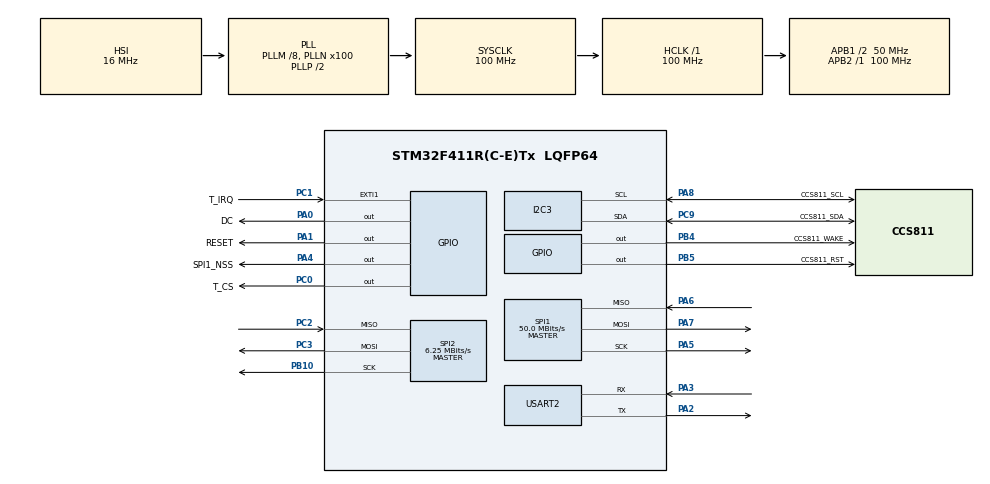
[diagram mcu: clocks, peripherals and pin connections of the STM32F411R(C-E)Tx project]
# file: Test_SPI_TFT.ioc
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Dma.Request0=USART2_TX
Dma.Request1=USART2_RX
Dma.Request2=SPI1_TX
Dma.SPI1_TX.2.Direction=DMA_MEMORY_TO_PERIPH
Dma.SPI1_TX.2.FIFOMode=DMA_FIFOMODE_ENABLE
Dma.SPI1_TX.2.FIFOThreshold=DMA_FIFO_THRESHOLD_FULL
Dma.SPI1_TX.2.Instance=DMA2_Stream2
Dma.SPI1_TX.2.MemBurst=DMA_MBURST_SINGLE
Dma.SPI1_TX.2.MemDataAlignment=DMA_MDATAALIGN_BYTE
Dma.SPI1_TX.2.MemInc=DMA_MINC_ENABLE
Dma.SPI1_TX.2.Mode=DMA_NORMAL
Dma.SPI1_TX.2.PeriphBurst=DMA_PBURST_SINGLE
Dma.SPI1_TX.2.PeriphDataAlignment=DMA_PDATAALIGN_BYTE
Dma.SPI1_TX.2.PeriphInc=DMA_PINC_DISABLE
Dma.SPI1_TX.2.Priority=DMA_PRIORITY_LOW
Dma.USART2_RX.1.Direction=DMA_PERIPH_TO_MEMORY
Dma.USART2_RX.1.FIFOMode=DMA_FIFOMODE_DISABLE
Dma.USART2_RX.1.Instance=DMA1_Stream5
Dma.USART2_RX.1.MemDataAlignment=DMA_MDATAALIGN_BYTE
Dma.USART2_RX.1.MemInc=DMA_MINC_ENABLE
Dma.USART2_RX.1.Mode=DMA_NORMAL
Dma.USART2_RX.1.PeriphDataAlignment=DMA_PDATAALIGN_BYTE
Dma.USART2_RX.1.PeriphInc=DMA_PINC_DISABLE
Dma.USART2_RX.1.Priority=DMA_PRIORITY_LOW
Dma.USART2_TX.0.Direction=DMA_MEMORY_TO_PERIPH
Dma.USART2_TX.0.FIFOMode=DMA_FIFOMODE_DISABLE
Dma.USART2_TX.0.Instance=DMA1_Stream6
Dma.USART2_TX.0.MemDataAlignment=DMA_MDATAALIGN_BYTE
Dma.USART2_TX.0.MemInc=DMA_MINC_ENABLE
Dma.USART2_TX.0.Mode=DMA_NORMAL
Dma.USART2_TX.0.PeriphDataAlignment=DMA_PDATAALIGN_BYTE
Dma.USART2_TX.0.PeriphInc=DMA_PINC_DISABLE
Dma.USART2_TX.0.Priority=DMA_PRIORITY_LOW
Mcu.Family=STM32F4
Mcu.Name=STM32F411R(C-E)Tx
Mcu.Package=LQFP64
NVIC.DMA1_Stream5_IRQn=true\:0\:0\:false\:false\:true\:false\:true
NVIC.DMA1_Stream6_IRQn=true\:0\:0\:false\:false\:true\:false\:true
NVIC.DMA2_Stream2_IRQn=true\:0\:0\:false\:false\:true\:false\:true
NVIC.EXTI1_IRQn=true\:0\:0\:false\:false\:true\:true\:true
NVIC.PriorityGroup=NVIC_PRIORITYGROUP_0
NVIC.RCC_IRQn=true\:0\:0\:false\:false\:true\:true\:false
NVIC.SPI1_IRQn=true\:0\:0\:false\:false\:true\:true\:true
NVIC.SPI2_IRQn=true\:0\:0\:false\:false\:true\:true\:true
NVIC.TIM1_UP_TIM10_IRQn=true\:0\:0\:false\:false\:true\:false\:true
NVIC.TIM2_IRQn=true\:0\:0\:false\:false\:true\:true\:true
NVIC.TimeBase=TIM1_UP_TIM10_IRQn
NVIC.TimeBaseIP=TIM1
NVIC.USART2_IRQn=true\:0\:0\:false\:false\:true\:true\:true
PA0-WKUP.GPIO_Label=DC
PA0-WKUP.Signal=GPIO_Output
PA1.GPIO_Label=RESET
PA1.Signal=GPIO_Output
PA13.Mode=Serial_Wire
PA13.Signal=SYS_JTMS-SWDIO
PA14.Mode=Serial_Wire
PA14.Signal=SYS_JTCK-SWCLK
PA2.Mode=Asynchronous
PA2.Signal=USART2_TX
PA3.Mode=Asynchronous
PA3.Signal=USART2_RX
PA4.GPIO_Label=SPI1_NSS
PA4.Signal=GPIO_Output
PA5.Mode=Full_Duplex_Master
PA5.Signal=SPI1_SCK
PA6.Mode=Full_Duplex_Master
PA6.Signal=SPI1_MISO
PA7.Mode=Full_Duplex_Master
PA7.Signal=SPI1_MOSI
PA8.GPIO_Label=CCS811_SCL
PA8.Mode=I2C
PA8.Signal=I2C3_SCL
PB10.Mode=Full_Duplex_Master
PB10.Signal=SPI2_SCK
PB4.GPIO_Label=CCS811_WAKE
PB4.Signal=GPIO_Output
PB5.GPIO_Label=CCS811_RST
PB5.Signal=GPIO_Output
PC0.GPIO_Label=T_CS
PC0.Signal=GPIO_Output
PC1.GPIO_Label=T_IRQ
PC1.GPIO_ModeDefaultEXTI=GPIO_MODE_IT_FALLING
PC1.GPIO_PuPd=GPIO_PULLUP
PC1.Signal=GPXTI1
PC14-OSC32_IN.Mode=LSE-External-Oscillator
PC14-OSC32_IN.Signal=RCC_OSC32_IN
PC15-OSC32_OUT.Mode=LSE-External-Oscillator
PC15-OSC32_OUT.Signal=RCC_OSC32_OUT
PC2.Mode=Full_Duplex_Master
PC2.Signal=SPI2_MISO
PC3.Mode=Full_Duplex_Master
PC3.Signal=SPI2_MOSI
PC9.GPIO_Label=CCS811_SDA
PC9.Mode=I2C
PC9.Signal=I2C3_SDA
ProjectManager.HeapSize=0x200
ProjectManager.StackSize=0x400
ProjectManager.TargetToolchain=STM32CubeIDE
RCC.48MHZClocksFreq_Value=50000000
RCC.AHBFreq_Value=100000000
RCC.APB1CLKDivider=RCC_HCLK_DIV2
RCC.APB1Freq_Value=50000000
RCC.APB1TimFreq_Value=100000000
RCC.APB2Freq_Value=100000000
RCC.APB2TimFreq_Value=100000000
RCC.CortexFreq_Value=100000000
RCC.FLatency-AdvancedSettings=FLASH_LATENCY_3
RCC.HCLKFreq_Value=100000000
RCC.HSE_VALUE=8000000
RCC.HSI_VALUE=16000000
RCC.PLLM=8
RCC.PLLN=100
RCC.RCC_RTC_Clock_Source=RCC_RTCCLKSOURCE_LSE
RCC.RCC_RTC_Clock_SourceVirtual=RCC_RTCCLKSOURCE_LSE
RCC.SYSCLKFreq_VALUE=100000000
RCC.SYSCLKSource=RCC_SYSCLKSOURCE_PLLCLK
RCC.VCOOutputFreq_Value=200000000
SPI1.CalculateBaudRate=50.0 MBits/s
SPI1.Direction=SPI_DIRECTION_2LINES
SPI1.Mode=SPI_MODE_MASTER
SPI1.VirtualType=VM_MASTER
SPI2.BaudRatePrescaler=SPI_BAUDRATEPRESCALER_8
SPI2.CalculateBaudRate=6.25 MBits/s
SPI2.Direction=SPI_DIRECTION_2LINES
SPI2.Mode=SPI_MODE_MASTER
SPI2.VirtualType=VM_MASTER
STMicroelectronics.X-CUBE-TOUCHGFX.4.18.1.ApplicationCcGraphicsJjApplication=TouchGFXOoGenerator
STMicroelectronics.X-CUBE-TOUCHGFX.4.18.1.tgfx_buffering_strategy=Partial
STMicroelectronics.X-CUBE-TOUCHGFX.4.18.1.tgfx_custom_height=240
STMicroelectronics.X-CUBE-TOUCHGFX.4.18.1.tgfx_custom_width=320
STMicroelectronics.X-CUBE-TOUCHGFX.4.18.1_IsPackSelfContextualization=true
TIM2.Period=50000-1
TIM2.Prescaler=100-1
USART2.VirtualMode=VM_ASYNC
VP_CRC_VS_CRC.Mode=CRC_Activate
VP_RTC_VS_RTC_Activate.Mode=RTC_Enabled
VP_STMicroelectronics.X-CUBE-TOUCHGFX_VS_GraphicsJjApplication_4.18.1.Mode=GraphicsJjApplication
VP_SYS_VS_tim1.Mode=TIM1
VP_TIM2_VS_ClockSourceINT.Mode=Internal
board=NUCLEO-F411RE

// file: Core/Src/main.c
/* USER CODE BEGIN Header */
/**
  ******************************************************************************
  * @file           : main.c
  * @brief          : Main program body
  ******************************************************************************
  * @attention
  *
  * <h2><center>&copy; Copyright (c) 2021 STMicroelectronics.
  * All rights reserved.</center></h2>
  *
  * This software component is licensed by ST under BSD 3-Clause license,
  * the "License"; You may not use this file except in compliance with the
  * License. You may obtain a copy of the License at:
  *                        opensource.org/licenses/BSD-3-Clause
  *
  ******************************************************************************
  */
/* USER CODE END Header */
#include "main.h"
#include "crc.h"
#include "dma.h"
#include "i2c.h"
#include "rtc.h"
#include "spi.h"
#include "tim.h"
#include "usart.h"
#include "gpio.h"
#include "app_touchgfx.h"

/* USER CODE BEGIN Includes */
#include "stdio.h"
#include "ili9341.h"
#include "xpt2046.h"
#include "ccs811.h"
/* USER CODE END Includes */

/* USER CODE BEGIN PV */
ccs811_dev_t iaq_dev;
volatile uint8_t f_CCS811_DataAvail;
volatile int irq_counter;
volatile uint16_t CO2_Value = 400;
volatile uint16_t TVOC_Value = 0;
/* USER CODE END PV */

void SystemClock_Config(void);
/* USER CODE BEGIN PFP */
static uint8_t read_iaq_i2c(ccs811_dev_t *dev, uint8_t reg_addr, uint8_t *data, uint16_t len);
static uint8_t write_iaq_i2c(ccs811_dev_t *dev, uint8_t reg_addr, uint8_t *data, uint16_t len);
static void CCS811_Init(void);
int __io_putchar(int ch)
{
#ifdef DEBUG_ITM
	return ITM_SendChar(ch); // Comparator 0 Enabled y seleccionado bit 0 de ITM Stimulus Port
#else
	return ch;
#endif
}
/* USER CODE END PFP */

int main(void)
{

  /* MCU Configuration--------------------------------------------------------*/

  /* Reset of all peripherals, Initializes the Flash interface and the Systick. */
  HAL_Init();

  /* Configure the system clock */
  SystemClock_Config();

  /* Initialize all configured peripherals */
  MX_GPIO_Init();
  MX_DMA_Init();
  MX_USART2_UART_Init();
  MX_SPI1_Init();
  MX_CRC_Init();
  MX_TIM2_Init();
  MX_RTC_Init();
  MX_SPI2_Init();
  MX_I2C3_Init();
  MX_TouchGFX_Init();
  /* USER CODE BEGIN 2 */

  printf("Inicializando el sistema\r\n");

  HAL_TIM_Base_Start_IT(&htim2);
  ILI9341_Init();
  XPT2046_Init();
  CCS811_Init();
  printf("Sistema Inicializado\r\n");

  /* USER CODE END 2 */

  /* Infinite loop */
  /* USER CODE BEGIN WHILE */
  while (1)
  {
	 /* if(f_CCS811_DataAvail)
	  {
		  printf("[%d] Interupción lista\r\n", irq_counter);
		  irq_counter = irq_counter + 1;
		  f_CCS811_DataAvail = 0;
	  }*/
	  ccs811_status_t iaq_stat = ccs811_status(&iaq_dev);
	  if(1 == iaq_stat.data_ready)
	  {
		  ccs811_alg_results_t data = ccs811_get_data(&iaq_dev);
		  printf("[%d] eCO2: %u \t TVOC: %u \r\n", irq_counter, data.eCO2, data.TVOC);
		  CO2_Value = data.eCO2; // Guardamos en variable global
		  TVOC_Value = data.TVOC; // Guardamos en variable global
		  irq_counter++;
	  }
    /* USER CODE END WHILE */

  MX_TouchGFX_Process();
  }
}

void SystemClock_Config(void)
{
  RCC_OscInitTypeDef RCC_OscInitStruct = {0};
  RCC_ClkInitTypeDef RCC_ClkInitStruct = {0};

  /** Configure the main internal regulator output voltage
  */
  __HAL_RCC_PWR_CLK_ENABLE();
  __HAL_PWR_VOLTAGESCALING_CONFIG(PWR_REGULATOR_VOLTAGE_SCALE1);
  /** Initializes the RCC Oscillators according to the specified parameters
  * in the RCC_OscInitTypeDef structure.
  */
  RCC_OscInitStruct.OscillatorType = RCC_OSCILLATORTYPE_HSI|RCC_OSCILLATORTYPE_LSE;
  RCC_OscInitStruct.LSEState = RCC_LSE_ON;
  RCC_OscInitStruct.HSIState = RCC_HSI_ON;
  RCC_OscInitStruct.HSICalibrationValue = RCC_HSICALIBRATION_DEFAULT;
  RCC_OscInitStruct.PLL.PLLState = RCC_PLL_ON;
  RCC_OscInitStruct.PLL.PLLSource = RCC_PLLSOURCE_HSI;
  RCC_OscInitStruct.PLL.PLLM = 8;
  RCC_OscInitStruct.PLL.PLLN = 100;
  RCC_OscInitStruct.PLL.PLLP = RCC_PLLP_DIV2;
  RCC_OscInitStruct.PLL.PLLQ = 4;
  if (HAL_RCC_OscConfig(&RCC_OscInitStruct) != HAL_OK)
  {
    Error_Handler();
  }
  /** Initializes the CPU, AHB and APB buses clocks
  */
  RCC_ClkInitStruct.ClockType = RCC_CLOCKTYPE_HCLK|RCC_CLOCKTYPE_SYSCLK
                              |RCC_CLOCKTYPE_PCLK1|RCC_CLOCKTYPE_PCLK2;
  RCC_ClkInitStruct.SYSCLKSource = RCC_SYSCLKSOURCE_PLLCLK;
  RCC_ClkInitStruct.AHBCLKDivider = RCC_SYSCLK_DIV1;
  RCC_ClkInitStruct.APB1CLKDivider = RCC_HCLK_DIV2;
  RCC_ClkInitStruct.APB2CLKDivider = RCC_HCLK_DIV1;

  if (HAL_RCC_ClockConfig(&RCC_ClkInitStruct, FLASH_LATENCY_3) != HAL_OK)
  {
    Error_Handler();
  }
}

/* USER CODE BEGIN 4 */

extern void touchgfxSignalVSync(void);

uint8_t read_iaq_i2c(ccs811_dev_t *dev, uint8_t reg_addr, uint8_t *data, uint16_t len)
{

	uint8_t result = 0;
	result = HAL_I2C_Master_Transmit(&hi2c3, dev->address, &reg_addr, 1, 100);

	if (result == HAL_OK) {
		result = HAL_I2C_Master_Receive(&hi2c3, dev->address, data, len, 100);
	}
	return hi2c3.ErrorCode;
}

uint8_t write_iaq_i2c(ccs811_dev_t *dev, uint8_t reg_addr, uint8_t *data, uint16_t len)
{

	HAL_I2C_Mem_Write(&hi2c3, dev->address, reg_addr, 1, data, len, 100);

	return hi2c3.ErrorCode;
}

void CCS811_Init(void)
{

  iaq_dev.address = (CCS811_DEFAULT_ADDRESS << 1);
  iaq_dev.read = &read_iaq_i2c;
  iaq_dev.write = &write_iaq_i2c;
  HAL_GPIO_WritePin(CCS811_RST_GPIO_Port, CCS811_RST_Pin, GPIO_PIN_RESET);
  HAL_Delay(40);
  HAL_GPIO_WritePin(CCS811_RST_GPIO_Port, CCS811_RST_Pin, GPIO_PIN_SET);
  HAL_Delay(70); // Wait for 70 ms
  ccs811_error ret = ccs811_init(&iaq_dev);
  if(0 != ret)
  {
	  printf("Error en CCS811 \r\n");
  }
  f_CCS811_DataAvail = 0;
}

void HAL_GPIO_EXTI_Callback(uint16_t GPIO_Pin)
{
	if(GPIO_PIN_10 == GPIO_Pin)
	{
		f_CCS811_DataAvail = 1;
	}
}

/* USER CODE END 4 */

void HAL_TIM_PeriodElapsedCallback(TIM_HandleTypeDef *htim)
{
  if (htim->Instance == TIM1) {
    HAL_IncTick();
  }
  /* USER CODE BEGIN Callback 1 */
  if(htim->Instance == TIM2)
  {
	  touchgfxSignalVSync();
  }
  /* USER CODE END Callback 1 */
}

void Error_Handler(void)
{
  __disable_irq();
  while (1)
  {
  }
}

/************************ (C) COPYRIGHT STMicroelectronics *****END OF FILE****/
